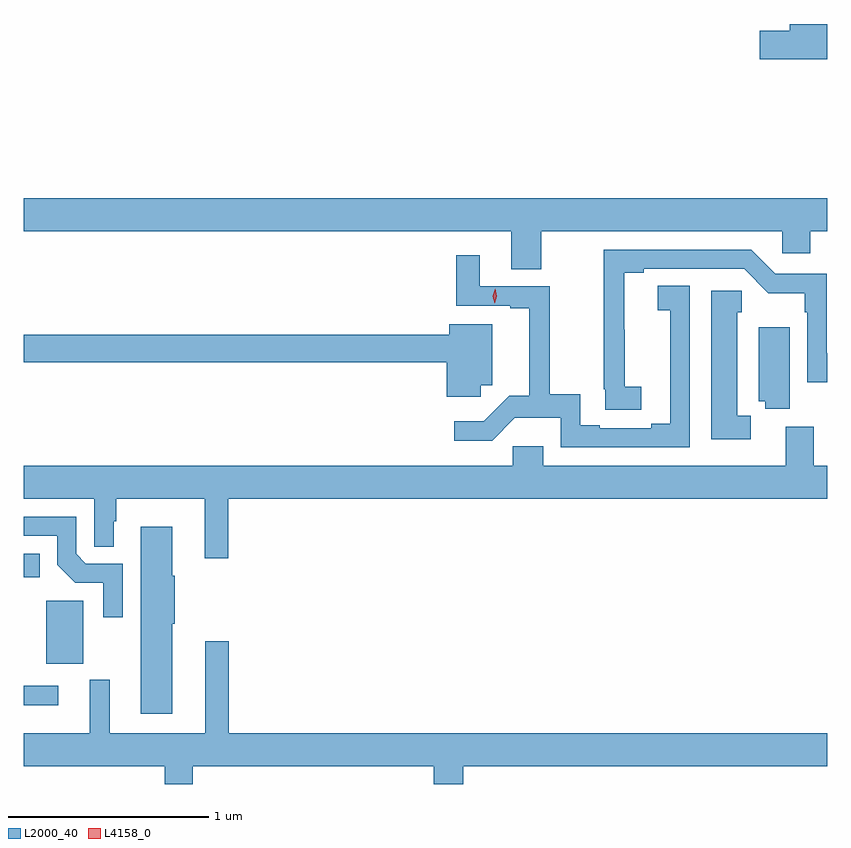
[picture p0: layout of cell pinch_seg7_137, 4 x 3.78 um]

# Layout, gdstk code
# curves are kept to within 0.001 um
import gdstk
lib = gdstk.Library(unit=1e-6, precision=1e-09)
def R(c, l, rs):  # rectangles x0, y0, x1, y1
    for r in rs: c.add(gdstk.rectangle(r[:2], r[2:], *l))
def P(c, l, *ps):  # polygons
    for p in ps: c.add(gdstk.Polygon(p, *l))
L2000_40 = (2000, 40)
L4158_0 = (4158, 0)

pinch_seg7_137 = lib.new_cell('pinch_seg7_137')
R(pinch_seg7_137, L2000_40, [(1070.54,1028.891,1070.713,1028.988), (1070.651,1029.098,1070.836,1029.412), (1070.54,1029.529,1070.621,1029.645)])
P(pinch_seg7_137, L2000_40, [(1074.54,1032.283),(1074.353,1032.283),(1074.353,1032.249),(1074.204,1032.249),(1074.204,1032.107),(1074.54,1032.107)],
  [(1073.115,1031.252),(1074.315,1031.252),(1074.315,1031.142),(1074.454,1031.142),(1074.454,1031.252),(1074.54,1031.252),(1074.54,1031.416),(1070.54,1031.416),(1070.54,1031.252),(1072.967,1031.252),(1072.967,1031.062),(1073.115,1031.062)],
  [(1073.614,1030.478),(1073.532,1030.478),(1073.53,1031.044),(1073.626,1031.044),(1073.626,1031.064),(1074.126,1031.064),(1074.247,1030.943),(1074.429,1030.943),(1074.429,1030.847),(1074.441,1030.847),(1074.441,1030.5),(1074.54,1030.5),(1074.54,1030.644),(1074.537,1030.644),(1074.537,1031.04),(1074.282,1031.04),(1074.162,1031.16),(1073.428,1031.16),(1073.428,1030.465),(1073.434,1030.465),(1073.434,1030.363),(1073.614,1030.363)],
  [(1073.856,1030.979),(1073.697,1030.979),(1073.697,1030.859),(1073.758,1030.859),(1073.759,1030.292),(1073.663,1030.292),(1073.663,1030.272),(1073.407,1030.272),(1073.407,1030.286),(1073.31,1030.286),(1073.31,1030.439),(1073.159,1030.439),(1073.159,1030.977),(1072.81,1030.977),(1072.81,1031.131),(1072.693,1031.131),(1072.693,1030.881),(1072.961,1030.881),(1072.961,1030.869),(1073.057,1030.869),(1073.057,1030.432),(1072.957,1030.432),(1072.83,1030.305),(1072.683,1030.305),(1072.683,1030.209),(1072.872,1030.209),(1072.985,1030.322),(1073.214,1030.322),(1073.214,1030.176),(1073.856,1030.176)],
  [(1074.16,1030.332),(1074.091,1030.332),(1074.091,1030.848),(1074.113,1030.848),(1074.113,1030.954),(1073.963,1030.954),(1073.963,1030.217),(1074.16,1030.217)],
  [(1072.815,1030.484),(1072.873,1030.484),(1072.873,1030.789),(1072.658,1030.789),(1072.658,1030.736),(1070.54,1030.736),(1070.54,1030.6),(1072.646,1030.6),(1072.646,1030.428),(1072.815,1030.428)],
  [(1074.352,1030.774),(1074.2,1030.774),(1074.2,1030.406),(1074.232,1030.406),(1074.232,1030.369),(1074.352,1030.369)],
  [(1071.557,1029.92),(1074.54,1029.92),(1074.54,1030.084),(1074.472,1030.084),(1074.472,1030.279),(1074.332,1030.279),(1074.332,1030.084),(1073.125,1030.084),(1073.125,1030.182),(1072.974,1030.182),(1072.974,1030.084),(1070.54,1030.084),(1070.54,1029.92),(1070.892,1029.92),(1070.892,1029.682),(1070.989,1029.682),(1070.989,1029.807),(1071.001,1029.807),(1071.001,1029.92),(1071.44,1029.92),(1071.44,1029.624),(1071.557,1029.624)],
  [(1071.033,1029.597),(1070.85,1029.597),(1070.802,1029.645),(1070.802,1029.831),(1070.54,1029.831),(1070.54,1029.735),(1070.706,1029.735),(1070.706,1029.591),(1070.796,1029.501),(1070.937,1029.501),(1070.937,1029.33),(1071.033,1029.33)],
  [(1071.28,1029.298),(1071.293,1029.298),(1071.293,1029.536),(1071.28,1029.536),(1071.28,1029.781),(1071.122,1029.781),(1071.122,1028.85),(1071.28,1028.85)],
  [(1071.381,1028.588),(1072.582,1028.588),(1072.582,1028.5),(1072.729,1028.5),(1072.729,1028.588),(1074.54,1028.588),(1074.54,1028.752),(1071.56,1028.752),(1071.56,1029.211),(1071.443,1029.211),(1071.443,1028.752),(1070.968,1028.752),(1070.968,1029.019),(1070.87,1029.019),(1070.87,1028.752),(1070.54,1028.752),(1070.54,1028.588),(1071.242,1028.588),(1071.242,1028.5),(1071.381,1028.5)])
P(pinch_seg7_137, L4158_0, [(1072.884,1030.893),(1072.884,1030.893),(1072.875,1030.929),(1072.886,1030.965),(1072.887,1030.965),(1072.887,1030.965),(1072.895,1030.928),(1072.884,1030.893)])

lib.write_gds('pinch_seg7_137.gds')
